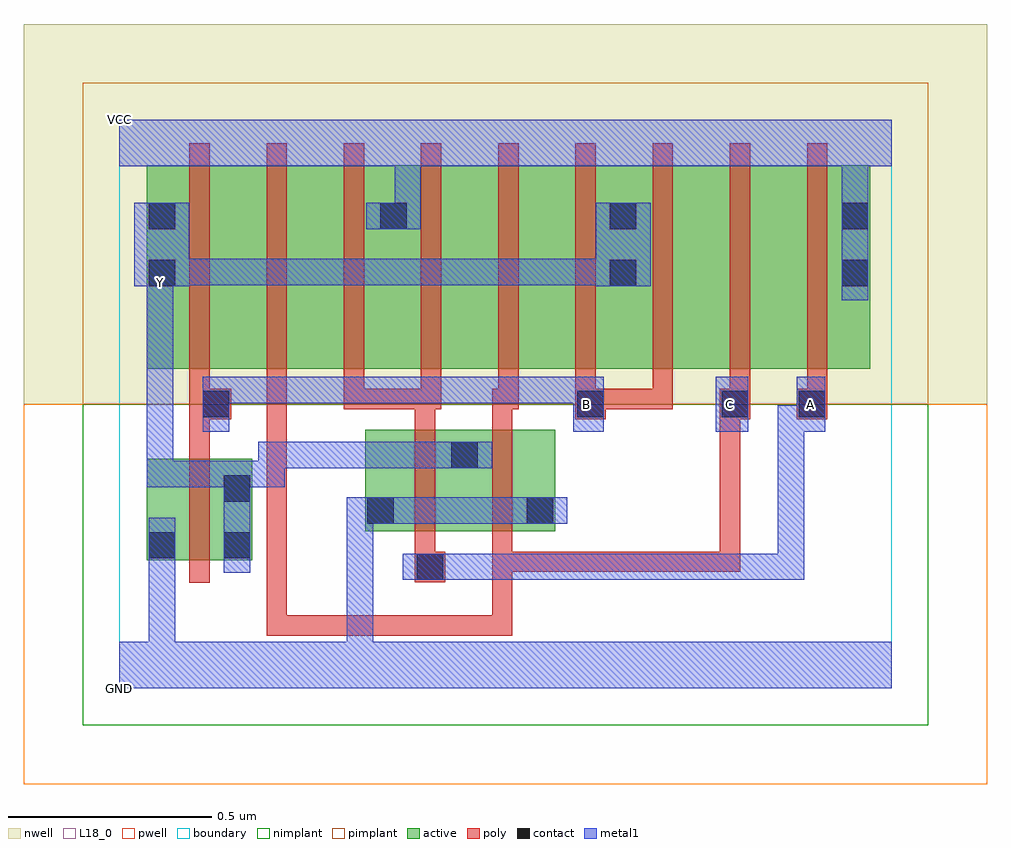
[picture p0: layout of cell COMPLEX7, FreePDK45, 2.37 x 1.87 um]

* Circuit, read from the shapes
.subckt COMPLEX7 A B C GND VCC Y
M1 Y B GND VSUBS nfet w=0.25u l=0.05u
M2 Y A GND VSUBS nfet w=0.25u l=0.05u
M3 GND C Y VSUBS nfet w=0.25u l=0.05u
M4 n1 B Y n2 pfet w=0.5u l=0.05u
M5 n3 C n1 n2 pfet w=0.5u l=0.05u
M6 VCC A n3 n2 pfet w=0.5u l=0.05u
M7 n4 A VCC n2 pfet w=0.5u l=0.05u
M8 n5 C n4 n2 pfet w=0.5u l=0.05u
M9 Y B n5 n2 pfet w=0.5u l=0.05u
M10 n6 B Y n2 pfet w=0.5u l=0.05u
M11 n7 C n6 n2 pfet w=0.5u l=0.05u
M12 VCC A n7 n2 pfet w=0.5u l=0.05u
.ends

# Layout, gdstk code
import gdstk
lib = gdstk.Library(unit=1e-6, precision=1e-09)
def R(c, l, rs):  # rectangles x0, y0, x1, y1
    for r in rs: c.add(gdstk.rectangle(r[:2], r[2:], *l))
def A(c, l, x, y, w, h, nx, ny, dx, dy):  # array of equal rectangles
    R(c, l, [(x+i*dx, y+j*dy, x+i*dx+w, y+j*dy+h) for i in range(nx) for j in range(ny)])
active = (1, 0)
pwell = (2, 0)
nwell = (3, 0)
nimplant = (4, 0)
pimplant = (5, 0)
poly = (9, 0)
contact = (10, 0)
metal1 = (11, 0)
L18_0 = (18, 0)
boundary = (235, 0)

complex7 = lib.new_cell('COMPLEX7')
A(complex7, active, 0.292, 0.787, 0.19, 0.5, 3, 1, 0.57, 0)
R(complex7, active, [(0.067,0.315,0.327,0.565), (0.067,0.315,0.142,0.565), (0.252,0.315,0.327,0.565), (0.605,0.387,0.887,0.637), (0.605,0.387,0.68,0.637), (0.812,0.387,1.072,0.637), (0.812,0.395,0.887,0.612), (0.997,0.395,1.072,0.637), (0.067,0.787,0.292,1.287), (0.067,0.787,0.172,1.2), (0.482,0.787,0.712,1.287), (0.637,0.787,0.862,1.287), (1.052,0.787,1.277,1.287), (1.202,0.787,1.432,1.287), (1.622,0.787,1.847,1.287), (1.772,0.787,1.847,1.255), (0.637,0.807,0.712,1.255), (1.202,0.807,1.277,1.2)])
R(complex7, pwell, [(-0.235,-0.235,2.135,0.7)])
R(complex7, nwell, [(-0.235,0.7,2.135,1.635)])
R(complex7, nimplant, [(-0.09,-0.09,1.99,0.7)])
R(complex7, pimplant, [(-0.09,0.7,1.99,1.49)])
A(complex7, poly, 0.552, 0.687, 0.05, 0.095, 7, 1, 0.19, 0)
A(complex7, poly, 0.172, 0.732, 0.05, 0.61, 9, 1, 0.19, 0)
R(complex7, poly, [(0.362,0.13,0.412,0.18), (0.362,0.13,0.412,0.18), (0.362,0.13,0.412,0.18), (0.362,0.13,0.412,0.18), (0.362,0.13,0.412,0.18), (0.362,0.13,0.412,0.18), (0.362,0.13,0.412,0.18), (0.362,0.13,0.412,0.18), (0.362,0.13,0.412,0.18), (0.362,0.13,0.412,0.18), (0.362,0.13,0.412,0.18), (0.362,0.13,0.545,0.18), (0.362,0.13,0.412,0.782), (0.495,0.13,0.545,0.18), (0.495,0.13,0.545,0.18), (0.495,0.13,0.545,0.18), (0.495,0.13,0.835,0.18), (0.785,0.13,0.835,0.18), (0.785,0.13,0.835,0.18), (0.785,0.13,0.835,0.18), (0.785,0.13,0.967,0.18), (0.917,0.13,0.967,0.18), (0.917,0.13,0.967,0.337), (0.172,0.26,0.222,0.62), (0.727,0.262,0.802,0.337), (0.727,0.287,0.777,0.382), (0.917,0.287,0.967,0.382), (0.917,0.287,0.967,0.337), (0.917,0.287,0.967,0.337), (0.917,0.287,0.967,0.337), (0.917,0.287,1.115,0.337), (1.065,0.287,1.115,0.337), (1.065,0.287,1.115,0.337), (1.065,0.287,1.115,0.337), (1.065,0.287,1.115,0.337), (1.065,0.287,1.115,0.337), (1.065,0.287,1.395,0.337), (1.345,0.287,1.395,0.337), (1.345,0.287,1.527,0.337), (1.477,0.287,1.527,0.712), (1.477,0.287,1.527,0.337), (1.477,0.287,1.527,0.337), (1.477,0.287,1.527,0.337), (1.477,0.287,1.527,0.337), (1.477,0.287,1.527,0.337), (0.727,0.332,0.777,0.692), (0.917,0.332,0.967,0.692), (0.172,0.57,0.222,0.712), (0.727,0.642,0.777,0.737), (0.917,0.642,0.967,0.737), (0.172,0.662,0.275,0.737), (1.122,0.662,1.197,0.737), (1.477,0.662,1.552,0.737), (1.667,0.662,1.742,0.737), (0.172,0.687,0.222,0.782), (0.552,0.687,0.602,0.737), (0.552,0.687,0.602,0.737), (0.552,0.687,0.602,0.737), (0.552,0.687,0.777,0.737), (0.727,0.687,0.792,0.737), (0.917,0.687,0.982,0.737), (1.147,0.687,1.362,0.737), (1.312,0.687,1.362,0.737), (1.312,0.687,1.362,0.737), (1.312,0.687,1.362,0.737)])
R(complex7, contact, [(0.732,0.267,0.797,0.332), (0.072,0.32,0.137,0.385), (0.257,0.32,0.322,0.385), (0.61,0.405,0.675,0.47), (1.002,0.405,1.067,0.47), (0.257,0.46,0.322,0.525), (0.817,0.542,0.882,0.607), (0.205,0.667,0.27,0.732), (1.127,0.667,1.192,0.732), (1.482,0.667,1.547,0.732), (1.672,0.667,1.737,0.732), (0.072,0.99,0.137,1.055), (1.207,0.99,1.272,1.055), (1.777,0.99,1.842,1.055), (0.072,1.13,0.137,1.195), (0.642,1.13,0.707,1.195), (1.207,1.13,1.272,1.195), (1.777,1.13,1.842,1.195)])
R(complex7, metal1, [(0,0,1.9,0.115), (0.072,0.05,0.137,0.115), (0.072,0.05,0.137,0.115), (0.072,0.05,0.137,0.115), (0.072,0.05,0.137,0.115), (0.072,0.05,0.137,0.115), (0.072,0.05,0.137,0.115), (0.072,0.05,0.137,0.35), (0.56,0.05,0.625,0.47), (0.697,0.267,0.832,0.332), (0.767,0.267,0.895,0.332), (0.83,0.267,0.895,0.332), (0.83,0.267,1.045,0.332), (0.98,0.267,1.045,0.332), (0.98,0.267,1.045,0.332), (0.98,0.267,1.045,0.332), (0.98,0.267,1.257,0.332), (1.192,0.267,1.257,0.332), (1.192,0.267,1.257,0.332), (1.192,0.267,1.257,0.332), (1.192,0.267,1.257,0.332), (1.192,0.267,1.257,0.332), (1.192,0.267,1.257,0.332), (1.192,0.267,1.257,0.332), (1.192,0.267,1.395,0.332), (1.33,0.267,1.395,0.332), (1.33,0.267,1.395,0.332), (1.33,0.267,1.395,0.332), (1.33,0.267,1.595,0.332), (1.53,0.267,1.595,0.332), (1.53,0.267,1.685,0.332), (1.62,0.267,1.685,0.697), (1.62,0.267,1.685,0.332), (0.072,0.285,0.137,0.42), (0.257,0.285,0.322,0.56), (0.56,0.405,0.625,0.47), (0.56,0.405,0.625,0.47), (0.56,0.405,0.625,0.47), (0.56,0.405,0.625,0.47), (0.56,0.405,0.625,0.47), (0.56,0.405,0.625,0.47), (0.56,0.405,0.71,0.47), (0.645,0.405,0.895,0.47), (0.83,0.405,0.895,0.47), (0.83,0.405,0.895,0.47), (0.83,0.405,0.895,0.47), (0.83,0.405,1.032,0.47), (0.967,0.405,1.032,0.47), (0.967,0.405,1.032,0.47), (0.967,0.405,1.102,0.47), (0.067,0.495,0.132,0.56), (0.067,0.495,0.132,0.56), (0.067,0.495,0.132,0.56), (0.067,0.495,0.322,0.56), (0.067,0.495,0.132,0.997), (0.257,0.495,0.407,0.56), (0.342,0.495,0.407,0.607), (0.342,0.542,0.46,0.607), (0.395,0.542,0.46,0.607), (0.395,0.542,0.545,0.607), (0.48,0.542,0.545,0.607), (0.48,0.542,0.71,0.607), (0.645,0.542,0.71,0.607), (0.645,0.542,0.71,0.607), (0.645,0.542,0.71,0.607), (0.645,0.542,0.847,0.607), (0.782,0.542,0.917,0.607), (0.205,0.632,0.27,0.767), (1.117,0.632,1.192,0.767), (1.467,0.632,1.547,0.767), (1.62,0.632,1.732,0.697), (1.62,0.632,1.685,0.697), (1.667,0.632,1.737,0.767), (0.205,0.702,0.322,0.767), (0.257,0.702,0.322,0.767), (0.257,0.702,0.407,0.767), (0.342,0.702,0.407,0.767), (0.342,0.702,0.46,0.767), (0.395,0.702,0.46,0.767), (0.395,0.702,0.545,0.767), (0.48,0.702,0.545,0.767), (0.48,0.702,0.71,0.767), (0.645,0.702,0.71,0.767), (0.645,0.702,0.71,0.767), (0.645,0.702,0.71,0.767), (0.645,0.702,0.895,0.767), (0.83,0.702,0.895,0.767), (0.83,0.702,1.045,0.767), (0.98,0.702,1.045,0.767), (0.98,0.702,1.045,0.767), (0.98,0.702,1.045,0.767), (0.98,0.702,1.182,0.767), (0.067,0.932,0.132,1.067), (1.777,0.955,1.842,1.23), (0.037,0.99,0.172,1.195), (1.172,0.99,1.307,1.195), (0.107,0.992,0.172,1.057), (0.107,0.992,0.172,1.057), (0.107,0.992,0.322,1.057), (0.257,0.992,0.322,1.057), (0.257,0.992,0.407,1.057), (0.342,0.992,0.407,1.057), (0.342,0.992,0.46,1.057), (0.395,0.992,0.46,1.057), (0.395,0.992,0.545,1.057), (0.48,0.992,0.545,1.057), (0.48,0.992,0.71,1.057), (0.645,0.992,0.71,1.057), (0.645,0.992,0.71,1.057), (0.645,0.992,0.71,1.057), (0.645,0.992,0.847,1.057), (0.782,0.992,0.847,1.057), (0.782,0.992,1.045,1.057), (0.98,0.992,1.045,1.057), (0.98,0.992,1.045,1.057), (0.98,0.992,1.045,1.057), (0.98,0.992,1.237,1.057), (1.172,0.992,1.237,1.057), (1.172,0.992,1.237,1.057), (0.067,1.002,0.132,1.067), (0.607,1.13,0.742,1.195), (0.677,1.13,0.742,1.35), (1.777,1.165,1.842,1.35), (0,1.285,1.9,1.4)])
R(complex7, L18_0, [(0,0,1.9,0.115), (0.072,0.05,0.137,0.115), (0.072,0.05,0.137,0.115), (0.072,0.05,0.137,0.115), (0.072,0.05,0.137,0.115), (0.072,0.05,0.137,0.115), (0.072,0.05,0.137,0.115), (0.072,0.05,0.137,0.35), (0.56,0.05,0.625,0.47), (0.697,0.267,0.832,0.332), (0.767,0.267,0.895,0.332), (0.83,0.267,0.895,0.332), (0.83,0.267,1.045,0.332), (0.98,0.267,1.045,0.332), (0.98,0.267,1.045,0.332), (0.98,0.267,1.045,0.332), (0.98,0.267,1.257,0.332), (1.192,0.267,1.257,0.332), (1.192,0.267,1.257,0.332), (1.192,0.267,1.257,0.332), (1.192,0.267,1.257,0.332), (1.192,0.267,1.257,0.332), (1.192,0.267,1.257,0.332), (1.192,0.267,1.257,0.332), (1.192,0.267,1.395,0.332), (1.33,0.267,1.395,0.332), (1.33,0.267,1.395,0.332), (1.33,0.267,1.395,0.332), (1.33,0.267,1.595,0.332), (1.53,0.267,1.595,0.332), (1.53,0.267,1.685,0.332), (1.62,0.267,1.685,0.332), (1.62,0.267,1.685,0.697), (0.072,0.285,0.137,0.42), (0.257,0.285,0.322,0.56), (0.56,0.405,0.625,0.47), (0.56,0.405,0.625,0.47), (0.56,0.405,0.625,0.47), (0.56,0.405,0.625,0.47), (0.56,0.405,0.625,0.47), (0.56,0.405,0.625,0.47), (0.56,0.405,0.71,0.47), (0.645,0.405,0.895,0.47), (0.83,0.405,0.895,0.47), (0.83,0.405,0.895,0.47), (0.83,0.405,0.895,0.47), (0.83,0.405,1.032,0.47), (0.967,0.405,1.032,0.47), (0.967,0.405,1.032,0.47), (0.967,0.405,1.102,0.47), (0.067,0.495,0.132,0.56), (0.067,0.495,0.132,0.56), (0.067,0.495,0.132,0.56), (0.067,0.495,0.132,0.997), (0.067,0.495,0.322,0.56), (0.257,0.495,0.407,0.56), (0.342,0.495,0.407,0.607), (0.342,0.542,0.46,0.607), (0.395,0.542,0.46,0.607), (0.395,0.542,0.545,0.607), (0.48,0.542,0.545,0.607), (0.48,0.542,0.71,0.607), (0.645,0.542,0.71,0.607), (0.645,0.542,0.71,0.607), (0.645,0.542,0.71,0.607), (0.645,0.542,0.847,0.607), (0.782,0.542,0.917,0.607), (0.205,0.632,0.27,0.767), (1.117,0.632,1.192,0.767), (1.467,0.632,1.547,0.767), (1.62,0.632,1.685,0.697), (1.62,0.632,1.732,0.697), (1.667,0.632,1.737,0.767), (1.117,0.667,1.182,0.732), (1.467,0.667,1.532,0.732), (1.667,0.667,1.732,0.732), (0.205,0.702,0.322,0.767), (0.257,0.702,0.322,0.767), (0.257,0.702,0.407,0.767), (0.342,0.702,0.407,0.767), (0.342,0.702,0.46,0.767), (0.395,0.702,0.46,0.767), (0.395,0.702,0.545,0.767), (0.48,0.702,0.545,0.767), (0.48,0.702,0.71,0.767), (0.645,0.702,0.71,0.767), (0.645,0.702,0.71,0.767), (0.645,0.702,0.71,0.767), (0.645,0.702,0.895,0.767), (0.83,0.702,0.895,0.767), (0.83,0.702,1.045,0.767), (0.98,0.702,1.045,0.767), (0.98,0.702,1.045,0.767), (0.98,0.702,1.045,0.767), (0.98,0.702,1.182,0.767), (0.067,0.932,0.132,1.067), (1.777,0.955,1.842,1.23), (0.067,0.967,0.132,1.032), (0.037,0.99,0.172,1.195), (1.172,0.99,1.307,1.195), (0.107,0.992,0.172,1.057), (0.107,0.992,0.172,1.057), (0.107,0.992,0.322,1.057), (0.257,0.992,0.322,1.057), (0.257,0.992,0.407,1.057), (0.342,0.992,0.407,1.057), (0.342,0.992,0.46,1.057), (0.395,0.992,0.46,1.057), (0.395,0.992,0.545,1.057), (0.48,0.992,0.545,1.057), (0.48,0.992,0.71,1.057), (0.645,0.992,0.71,1.057), (0.645,0.992,0.71,1.057), (0.645,0.992,0.71,1.057), (0.645,0.992,0.847,1.057), (0.782,0.992,0.847,1.057), (0.782,0.992,1.045,1.057), (0.98,0.992,1.045,1.057), (0.98,0.992,1.045,1.057), (0.98,0.992,1.045,1.057), (0.98,0.992,1.237,1.057), (1.172,0.992,1.237,1.057), (1.172,0.992,1.237,1.057), (0.067,1.002,0.132,1.067), (0.607,1.13,0.742,1.195), (0.677,1.13,0.742,1.35), (1.777,1.165,1.842,1.35), (0,1.285,1.9,1.4)])
R(complex7, boundary, [(0,0,1.9,1.4)])
complex7.add(gdstk.Label('A', (1.7,0.7), layer=11, texttype=0))
complex7.add(gdstk.Label('B', (1.15,0.7), layer=11, texttype=0))
complex7.add(gdstk.Label('C', (1.5,0.7), layer=11, texttype=0))
complex7.add(gdstk.Label('Y', (0.1,1), layer=11, texttype=0))
complex7.add(gdstk.Label('VCC', (0,1.4), layer=11, texttype=0))
complex7.add(gdstk.Label('GND', (0,0), layer=11, texttype=0))

lib.write_gds('COMPLEX7.gds')
